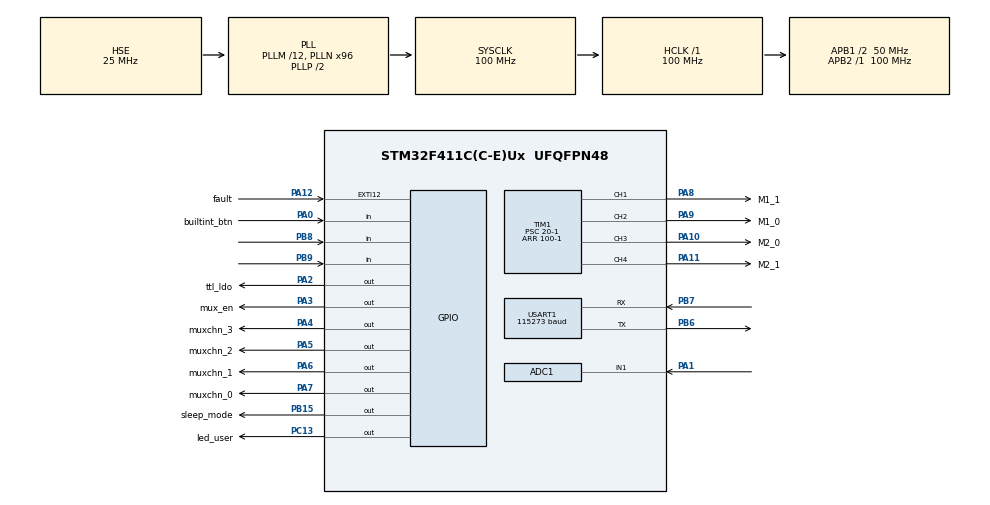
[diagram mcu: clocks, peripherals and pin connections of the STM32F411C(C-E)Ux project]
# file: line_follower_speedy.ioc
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ADC1.Channel-0\#ChannelRegularConversion=ADC_CHANNEL_1
ADC1.NbrOfConversionFlag=1
ADC1.Rank-0\#ChannelRegularConversion=1
ADC1.SamplingTime-0\#ChannelRegularConversion=ADC_SAMPLETIME_3CYCLES
ADC1.master=1
Dma.Request0=USART1_RX
Dma.Request1=USART1_TX
Dma.USART1_RX.0.Direction=DMA_PERIPH_TO_MEMORY
Dma.USART1_RX.0.FIFOMode=DMA_FIFOMODE_DISABLE
Dma.USART1_RX.0.Instance=DMA2_Stream5
Dma.USART1_RX.0.MemDataAlignment=DMA_MDATAALIGN_BYTE
Dma.USART1_RX.0.MemInc=DMA_MINC_ENABLE
Dma.USART1_RX.0.Mode=DMA_NORMAL
Dma.USART1_RX.0.PeriphDataAlignment=DMA_PDATAALIGN_BYTE
Dma.USART1_RX.0.PeriphInc=DMA_PINC_DISABLE
Dma.USART1_RX.0.Priority=DMA_PRIORITY_HIGH
Dma.USART1_TX.1.Direction=DMA_MEMORY_TO_PERIPH
Dma.USART1_TX.1.FIFOMode=DMA_FIFOMODE_DISABLE
Dma.USART1_TX.1.Instance=DMA2_Stream7
Dma.USART1_TX.1.MemDataAlignment=DMA_MDATAALIGN_BYTE
Dma.USART1_TX.1.MemInc=DMA_MINC_ENABLE
Dma.USART1_TX.1.Mode=DMA_NORMAL
Dma.USART1_TX.1.PeriphDataAlignment=DMA_PDATAALIGN_BYTE
Dma.USART1_TX.1.PeriphInc=DMA_PINC_DISABLE
Dma.USART1_TX.1.Priority=DMA_PRIORITY_HIGH
Mcu.Family=STM32F4
Mcu.Name=STM32F411C(C-E)Ux
Mcu.Package=UFQFPN48
NVIC.DMA2_Stream5_IRQn=true\:0\:0\:false\:false\:true\:false\:true\:true
NVIC.DMA2_Stream7_IRQn=true\:0\:0\:false\:false\:true\:false\:true\:true
NVIC.EXTI15_10_IRQn=true\:0\:0\:false\:false\:true\:true\:true\:true
NVIC.PriorityGroup=NVIC_PRIORITYGROUP_4
NVIC.TIM3_IRQn=true\:0\:0\:false\:false\:true\:true\:true\:true
NVIC.USART1_IRQn=true\:0\:0\:false\:false\:true\:true\:true\:true
PA0-WKUP.GPIO_Label=builtint_btn
PA0-WKUP.Signal=GPIO_Input
PA1.Signal=ADCx_IN1
PA10.GPIO_Label=M2_0
PA10.Signal=S_TIM1_CH3
PA11.GPIO_Label=M2_1
PA11.Signal=S_TIM1_CH4
PA12.GPIO_Label=fault
PA12.Signal=GPXTI12
PA13.Mode=Serial_Wire
PA13.Signal=SYS_JTMS-SWDIO
PA14.Mode=Serial_Wire
PA14.Signal=SYS_JTCK-SWCLK
PA2.GPIO_Label=ttl_ldo
PA2.GPIO_Speed=GPIO_SPEED_FREQ_VERY_HIGH
PA2.Signal=GPIO_Output
PA3.GPIO_Label=mux_en
PA3.GPIO_Speed=GPIO_SPEED_FREQ_VERY_HIGH
PA3.Signal=GPIO_Output
PA4.GPIO_Label=muxchn_3
PA4.GPIO_PuPd=GPIO_PULLDOWN
PA4.GPIO_Speed=GPIO_SPEED_FREQ_VERY_HIGH
PA4.Signal=GPIO_Output
PA5.GPIO_Label=muxchn_2
PA5.GPIO_PuPd=GPIO_PULLDOWN
PA5.GPIO_Speed=GPIO_SPEED_FREQ_VERY_HIGH
PA5.Signal=GPIO_Output
PA6.GPIO_Label=muxchn_1
PA6.GPIO_PuPd=GPIO_PULLDOWN
PA6.GPIO_Speed=GPIO_SPEED_FREQ_VERY_HIGH
PA6.Signal=GPIO_Output
PA7.GPIO_Label=muxchn_0
PA7.GPIO_PuPd=GPIO_PULLDOWN
PA7.GPIO_Speed=GPIO_SPEED_FREQ_VERY_HIGH
PA7.Signal=GPIO_Output
PA8.GPIO_Label=M1_1
PA8.Signal=S_TIM1_CH1
PA9.GPIO_Label=M1_0
PA9.Signal=S_TIM1_CH2
PB15.GPIO_Label=sleep_mode
PB15.Signal=GPIO_Output
PB6.Mode=Asynchronous
PB6.Signal=USART1_TX
PB7.Mode=Asynchronous
PB7.Signal=USART1_RX
PB8.Signal=GPIO_Input
PB9.Signal=GPIO_Input
PC13-ANTI_TAMP.GPIO_Label=led_user
PC13-ANTI_TAMP.Signal=GPIO_Output
PC14-OSC32_IN.Mode=LSE-External-Oscillator
PC14-OSC32_IN.Signal=RCC_OSC32_IN
PC15-OSC32_OUT.Mode=LSE-External-Oscillator
PC15-OSC32_OUT.Signal=RCC_OSC32_OUT
PH0\ -\ OSC_IN.Mode=HSE-External-Oscillator
PH0\ -\ OSC_IN.Signal=RCC_OSC_IN
PH1\ -\ OSC_OUT.Mode=HSE-External-Oscillator
PH1\ -\ OSC_OUT.Signal=RCC_OSC_OUT
ProjectManager.HeapSize=0x200
ProjectManager.StackSize=0x400
ProjectManager.TargetToolchain=STM32CubeIDE
RCC.48MHZClocksFreq_Value=50000000
RCC.AHBFreq_Value=100000000
RCC.APB1CLKDivider=RCC_HCLK_DIV2
RCC.APB1Freq_Value=50000000
RCC.APB1TimFreq_Value=100000000
RCC.APB2Freq_Value=100000000
RCC.APB2TimFreq_Value=100000000
RCC.CortexFreq_Value=100000000
RCC.HCLKFreq_Value=100000000
RCC.HSE_VALUE=25000000
RCC.HSI_VALUE=16000000
RCC.PLLM=12
RCC.PLLN=96
RCC.PLLSourceVirtual=RCC_PLLSOURCE_HSE
RCC.SYSCLKFreq_VALUE=100000000
RCC.SYSCLKSource=RCC_SYSCLKSOURCE_PLLCLK
RCC.VCOOutputFreq_Value=200000000
SH.ADCx_IN1.0=ADC1_IN1,IN1
SH.S_TIM1_CH1.0=TIM1_CH1,PWM Generation1 CH1
SH.S_TIM1_CH2.0=TIM1_CH2,PWM Generation2 CH2
SH.S_TIM1_CH3.0=TIM1_CH3,PWM Generation3 CH3
SH.S_TIM1_CH4.0=TIM1_CH4,PWM Generation4 CH4
TIM1.AutoReloadPreload=TIM_AUTORELOAD_PRELOAD_ENABLE
TIM1.Channel-PWM\ Generation1\ CH1=TIM_CHANNEL_1
TIM1.Channel-PWM\ Generation2\ CH2=TIM_CHANNEL_2
TIM1.Channel-PWM\ Generation3\ CH3=TIM_CHANNEL_3
TIM1.Channel-PWM\ Generation4\ CH4=TIM_CHANNEL_4
TIM1.Period=100-1
TIM1.Prescaler=20-1
TIM3.AutoReloadPreload=TIM_AUTORELOAD_PRELOAD_ENABLE
TIM3.Period=1000-1
TIM3.Prescaler=100-1
USART1.BaudRate=115273
USART1.VirtualMode=VM_ASYNC
VP_TIM1_VS_ClockSourceINT.Mode=Internal
VP_TIM3_VS_ClockSourceINT.Mode=Internal
board=custom

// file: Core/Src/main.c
/* USER CODE BEGIN Header */
/**
  ******************************************************************************
  * @author			: Adrián Silva Palafox
  * @file           : main.c
  * @brief          : Main program body
  ******************************************************************************
  * @attention
  *
  * Copyright (c) 2025 STMicroelectronics.
  * All rights reserved.
  *
  * This software is licensed under terms that can be found in the LICENSE file
  * in the root directory of this software component.
  * If no LICENSE file comes with this software, it is provided AS-IS.
  *
  ******************************************************************************
  */
/* USER CODE END Header */
#include "main.h"

/* USER CODE BEGIN Includes */
#include <math.h>
#include <stdlib.h>
// Line follower's hardware and software libraries
#include "fuzzy.h"
#include "pid.h"
#include "esp01.h"
#include "DRV8833.h"
#include "array_ir_sensor.h"
/* USER CODE END Includes */

ADC_HandleTypeDef hadc1;

TIM_HandleTypeDef htim1;
TIM_HandleTypeDef htim3;

UART_HandleTypeDef huart1;
DMA_HandleTypeDef hdma_usart1_rx;
DMA_HandleTypeDef hdma_usart1_tx;

/* USER CODE BEGIN PV */
/* UART COMMUNICATION TO ESP01*/
char TXbuffer[80];      			// TX uart buffer
volatile uint8_t RXuart_size = 1;	// Size of data to handle DMA
char RXbuffer[20];      			// RX uart buffer
char* pend_buff;     				// character end pointer
char pos_buff; 			 			// Buffer index
volatile bool TXuart_flag = true; 	// DMA uart_tx data sent completed flag
volatile bool RXuart_flag = false; 	// DMA uart_rx data sent completed flag
/* PID CONTROLLER */
PIDController pid;
const float setpoint = 0.0;
/* Fuzzy controller */
/* Line follower parameters */
volatile bool pid_flag = false;
float IRsense = 0.0;
uint8_t motorPWM = 0;
uint16_t IRsarray[IR_SENSORS];
float IRsarray_norm[IR_SENSORS];
const float weights[] =
{
		-0.95,  //IR0
		-0.8,   //IR1
		-0.56,  //IR2
		-0.21,  //IR3
		0.21,   //IR4
		0.56,   //IR5
		0.8,    //IR6
		0.95,   //IR7
};

/* USER CODE END PV */

void SystemClock_Config(void);
static void MX_GPIO_Init(void);
static void MX_DMA_Init(void);
static void MX_TIM1_Init(void);
static void MX_ADC1_Init(void);
static void MX_USART1_UART_Init(void);
static void MX_TIM3_Init(void);

int main(void)
{

  /* MCU Configuration--------------------------------------------------------*/

  /* Reset of all peripherals, Initializes the Flash interface and the Systick. */
  HAL_Init();

  /* Configure the system clock */
  SystemClock_Config();

  /* Initialize all configured peripherals */
  MX_GPIO_Init();
  MX_DMA_Init();
  MX_TIM1_Init();
  MX_ADC1_Init();
  MX_USART1_UART_Init();
  MX_TIM3_Init();
  /* USER CODE BEGIN 2 */

  // Initiate motors
  /* PWM channels for motor driver */
  HAL_TIM_PWM_Start(&htim1,TIM_CHANNEL_1);
  HAL_TIM_PWM_Start(&htim1,TIM_CHANNEL_2);
  HAL_TIM_PWM_Start(&htim1,TIM_CHANNEL_3);
  HAL_TIM_PWM_Start(&htim1,TIM_CHANNEL_4);
  stop_motors();

  //Initiate PID controller
  pid.limMin = -100;    	//Output's minimum limit
  pid.limMax = 100;     	//Output's maximum limit
  pid.limMinInt = -10.0;    //Integrator's minimum limit
  pid.limMaxInt = 10.0;  	//Integrator's maximum limit
  pid.T = 0.001;		    //Sample time in seconds
  pid.tau = pid.T*0.5;      //Derivative low-pass filter time constant
  PIDController_Init(&pid);

  // Initialize communication with ESP01
  ESP01_StatusTypeDef status = esp01_init();
  if(status == ESP01_OK) esp01_udp_start();
  if(status == ESP01_OK) esp01_start_uart_transparent();
  if(status == ESP01_OK) HAL_UART_Receive_DMA(&huart1, (uint8_t*)RXbuffer, RXuart_size);
  /*
  //Debug
  if(status == ESP01_OK){
	HAL_Delay(10000);
	// 1,2,3,4,5,6,7,8,9 ASCII coded
	for (uint8_t var = 48; var < 58; ++var) {
		HAL_UART_Transmit(&huart1, &var, 1, 1);
	}
	esp01_end_uart_transparent();
  }
  */
  //CALIBRATE
  enable_mux(true);
  enable_ldo(true);
  HAL_TIM_Base_Start_IT(&htim3);

  /* USER CODE END 2 */

  /* Infinite loop */
  while (1)
  {

    /* USER CODE BEGIN 3 */
    // FUZZY PID CONTROLLER
	if (pid_flag) {
		pid_flag = false;

		//Sense IRs
		sense_IR (IRsarray);

		//NORMALIZATION AND WEIGHTING  ->>  CALCULATE ROBOT POSITION AND ORENTATION
		IRsense = 0;
		for (int var = 0; var < IR_SENSORS; ++var) {
			IRsarray_norm[var] = normal_min_max((float)IRsarray[var], 0, 4095) * weights[var];
			IRsense += IRsarray_norm[var];
		}

		//IR SENSORS PATTERN RECOGNITION
		//Fuzzy
		//PID
		PIDController_Update(&pid, setpoint, IRsense);

		//ACT ON MOTORS
		motorPWM = (uint8_t)fabsf(pid.out);

		if (IRsense < 0) { // Turn <--
			motors(dir_a,motorPWM);
		} else if (IRsense > 0) { // Turn -->
			motors(dir_b,motorPWM);
		} else { // Go forward
			motors(dir_c,motorPWM);
		}
	 }

	//Parsing recollected date to send via UDP
	if (status == ESP01_OK && TXuart_flag == true) {
		TXuart_flag = false;
		// Buffer index let us start from "S" on
		pos_buff = snprintf(TXbuffer, sizeof(TXbuffer), "M%dE%.2fS", motorPWM, IRsense);
		// Append the IRsarray_norm[] values
		for (int i = 0; i < IR_SENSORS; i++) {
			pos_buff += snprintf(TXbuffer + pos_buff, sizeof(TXbuffer) - pos_buff, ",%.2f", IRsarray_norm[i]);
		}
		// FOR DEBUGING -> strcat(TXbuffer,RXbuffer);
		HAL_UART_Transmit_DMA(&huart1,(uint8_t*)TXbuffer,strlen(TXbuffer));
	}

	//Parsing RXbuffer and update PID gains
	if (RXuart_flag == true && RXuart_size == 1) {
		RXuart_flag = false;
		switch (RXbuffer[0]) {
			case 'P':
				pid.Kp = strtof(RXbuffer + 1,NULL);
				break;
			case 'I':
				pid.Ki = strtof(RXbuffer + 1,NULL);
				break;
			case 'D':
				pid.Kd = strtof(RXbuffer + 1,NULL);
				break;
		}
	}

  }
  /* USER CODE END 3 */
}

void SystemClock_Config(void)
{
  RCC_OscInitTypeDef RCC_OscInitStruct = {0};
  RCC_ClkInitTypeDef RCC_ClkInitStruct = {0};

  /** Configure the main internal regulator output voltage
  */
  __HAL_RCC_PWR_CLK_ENABLE();
  __HAL_PWR_VOLTAGESCALING_CONFIG(PWR_REGULATOR_VOLTAGE_SCALE1);

  /** Initializes the RCC Oscillators according to the specified parameters
  * in the RCC_OscInitTypeDef structure.
  */
  RCC_OscInitStruct.OscillatorType = RCC_OSCILLATORTYPE_HSE;
  RCC_OscInitStruct.HSEState = RCC_HSE_ON;
  RCC_OscInitStruct.PLL.PLLState = RCC_PLL_ON;
  RCC_OscInitStruct.PLL.PLLSource = RCC_PLLSOURCE_HSE;
  RCC_OscInitStruct.PLL.PLLM = 12;
  RCC_OscInitStruct.PLL.PLLN = 96;
  RCC_OscInitStruct.PLL.PLLP = RCC_PLLP_DIV2;
  RCC_OscInitStruct.PLL.PLLQ = 4;
  if (HAL_RCC_OscConfig(&RCC_OscInitStruct) != HAL_OK)
  {
    Error_Handler();
  }

  /** Initializes the CPU, AHB and APB buses clocks
  */
  RCC_ClkInitStruct.ClockType = RCC_CLOCKTYPE_HCLK|RCC_CLOCKTYPE_SYSCLK
                              |RCC_CLOCKTYPE_PCLK1|RCC_CLOCKTYPE_PCLK2;
  RCC_ClkInitStruct.SYSCLKSource = RCC_SYSCLKSOURCE_PLLCLK;
  RCC_ClkInitStruct.AHBCLKDivider = RCC_SYSCLK_DIV1;
  RCC_ClkInitStruct.APB1CLKDivider = RCC_HCLK_DIV2;
  RCC_ClkInitStruct.APB2CLKDivider = RCC_HCLK_DIV1;

  if (HAL_RCC_ClockConfig(&RCC_ClkInitStruct, FLASH_LATENCY_3) != HAL_OK)
  {
    Error_Handler();
  }
}

static void MX_ADC1_Init(void)
{

  ADC_ChannelConfTypeDef sConfig = {0};

  /** Configure the global features of the ADC (Clock, Resolution, Data Alignment and number of conversion)
  */
  hadc1.Instance = ADC1;
  hadc1.Init.ClockPrescaler = ADC_CLOCK_SYNC_PCLK_DIV4;
  hadc1.Init.Resolution = ADC_RESOLUTION_12B;
  hadc1.Init.ScanConvMode = DISABLE;
  hadc1.Init.ContinuousConvMode = DISABLE;
  hadc1.Init.DiscontinuousConvMode = DISABLE;
  hadc1.Init.ExternalTrigConvEdge = ADC_EXTERNALTRIGCONVEDGE_NONE;
  hadc1.Init.ExternalTrigConv = ADC_SOFTWARE_START;
  hadc1.Init.DataAlign = ADC_DATAALIGN_RIGHT;
  hadc1.Init.NbrOfConversion = 1;
  hadc1.Init.DMAContinuousRequests = DISABLE;
  hadc1.Init.EOCSelection = ADC_EOC_SINGLE_CONV;
  if (HAL_ADC_Init(&hadc1) != HAL_OK)
  {
    Error_Handler();
  }

  /** Configure for the selected ADC regular channel its corresponding rank in the sequencer and its sample time.
  */
  sConfig.Channel = ADC_CHANNEL_1;
  sConfig.Rank = 1;
  sConfig.SamplingTime = ADC_SAMPLETIME_3CYCLES;
  if (HAL_ADC_ConfigChannel(&hadc1, &sConfig) != HAL_OK)
  {
    Error_Handler();
  }

}

static void MX_TIM1_Init(void)
{

  TIM_ClockConfigTypeDef sClockSourceConfig = {0};
  TIM_MasterConfigTypeDef sMasterConfig = {0};
  TIM_OC_InitTypeDef sConfigOC = {0};
  TIM_BreakDeadTimeConfigTypeDef sBreakDeadTimeConfig = {0};

  htim1.Instance = TIM1;
  htim1.Init.Prescaler = 20-1;
  htim1.Init.CounterMode = TIM_COUNTERMODE_UP;
  htim1.Init.Period = 100-1;
  htim1.Init.ClockDivision = TIM_CLOCKDIVISION_DIV1;
  htim1.Init.RepetitionCounter = 0;
  htim1.Init.AutoReloadPreload = TIM_AUTORELOAD_PRELOAD_ENABLE;
  if (HAL_TIM_Base_Init(&htim1) != HAL_OK)
  {
    Error_Handler();
  }
  sClockSourceConfig.ClockSource = TIM_CLOCKSOURCE_INTERNAL;
  if (HAL_TIM_ConfigClockSource(&htim1, &sClockSourceConfig) != HAL_OK)
  {
    Error_Handler();
  }
  if (HAL_TIM_PWM_Init(&htim1) != HAL_OK)
  {
    Error_Handler();
  }
  sMasterConfig.MasterOutputTrigger = TIM_TRGO_RESET;
  sMasterConfig.MasterSlaveMode = TIM_MASTERSLAVEMODE_DISABLE;
  if (HAL_TIMEx_MasterConfigSynchronization(&htim1, &sMasterConfig) != HAL_OK)
  {
    Error_Handler();
  }
  sConfigOC.OCMode = TIM_OCMODE_PWM1;
  sConfigOC.Pulse = 0;
  sConfigOC.OCPolarity = TIM_OCPOLARITY_HIGH;
  sConfigOC.OCNPolarity = TIM_OCNPOLARITY_HIGH;
  sConfigOC.OCFastMode = TIM_OCFAST_DISABLE;
  sConfigOC.OCIdleState = TIM_OCIDLESTATE_RESET;
  sConfigOC.OCNIdleState = TIM_OCNIDLESTATE_RESET;
  if (HAL_TIM_PWM_ConfigChannel(&htim1, &sConfigOC, TIM_CHANNEL_1) != HAL_OK)
  {
    Error_Handler();
  }
  if (HAL_TIM_PWM_ConfigChannel(&htim1, &sConfigOC, TIM_CHANNEL_2) != HAL_OK)
  {
    Error_Handler();
  }
  if (HAL_TIM_PWM_ConfigChannel(&htim1, &sConfigOC, TIM_CHANNEL_3) != HAL_OK)
  {
    Error_Handler();
  }
  if (HAL_TIM_PWM_ConfigChannel(&htim1, &sConfigOC, TIM_CHANNEL_4) != HAL_OK)
  {
    Error_Handler();
  }
  sBreakDeadTimeConfig.OffStateRunMode = TIM_OSSR_DISABLE;
  sBreakDeadTimeConfig.OffStateIDLEMode = TIM_OSSI_DISABLE;
  sBreakDeadTimeConfig.LockLevel = TIM_LOCKLEVEL_OFF;
  sBreakDeadTimeConfig.DeadTime = 0;
  sBreakDeadTimeConfig.BreakState = TIM_BREAK_DISABLE;
  sBreakDeadTimeConfig.BreakPolarity = TIM_BREAKPOLARITY_HIGH;
  sBreakDeadTimeConfig.AutomaticOutput = TIM_AUTOMATICOUTPUT_DISABLE;
  if (HAL_TIMEx_ConfigBreakDeadTime(&htim1, &sBreakDeadTimeConfig) != HAL_OK)
  {
    Error_Handler();
  }
  HAL_TIM_MspPostInit(&htim1);

}

static void MX_TIM3_Init(void)
{

  TIM_ClockConfigTypeDef sClockSourceConfig = {0};
  TIM_MasterConfigTypeDef sMasterConfig = {0};

  htim3.Instance = TIM3;
  htim3.Init.Prescaler = 100-1;
  htim3.Init.CounterMode = TIM_COUNTERMODE_UP;
  htim3.Init.Period = 1000-1;
  htim3.Init.ClockDivision = TIM_CLOCKDIVISION_DIV1;
  htim3.Init.AutoReloadPreload = TIM_AUTORELOAD_PRELOAD_ENABLE;
  if (HAL_TIM_Base_Init(&htim3) != HAL_OK)
  {
    Error_Handler();
  }
  sClockSourceConfig.ClockSource = TIM_CLOCKSOURCE_INTERNAL;
  if (HAL_TIM_ConfigClockSource(&htim3, &sClockSourceConfig) != HAL_OK)
  {
    Error_Handler();
  }
  sMasterConfig.MasterOutputTrigger = TIM_TRGO_RESET;
  sMasterConfig.MasterSlaveMode = TIM_MASTERSLAVEMODE_DISABLE;
  if (HAL_TIMEx_MasterConfigSynchronization(&htim3, &sMasterConfig) != HAL_OK)
  {
    Error_Handler();
  }

}

static void MX_USART1_UART_Init(void)
{

  huart1.Instance = USART1;
  huart1.Init.BaudRate = 115273;
  huart1.Init.WordLength = UART_WORDLENGTH_8B;
  huart1.Init.StopBits = UART_STOPBITS_1;
  huart1.Init.Parity = UART_PARITY_NONE;
  huart1.Init.Mode = UART_MODE_TX_RX;
  huart1.Init.HwFlowCtl = UART_HWCONTROL_NONE;
  huart1.Init.OverSampling = UART_OVERSAMPLING_16;
  if (HAL_UART_Init(&huart1) != HAL_OK)
  {
    Error_Handler();
  }

}

static void MX_DMA_Init(void)
{

  /* DMA controller clock enable */
  __HAL_RCC_DMA2_CLK_ENABLE();

  /* DMA interrupt init */
  /* DMA2_Stream5_IRQn interrupt configuration */
  HAL_NVIC_SetPriority(DMA2_Stream5_IRQn, 0, 0);
  HAL_NVIC_EnableIRQ(DMA2_Stream5_IRQn);
  /* DMA2_Stream7_IRQn interrupt configuration */
  HAL_NVIC_SetPriority(DMA2_Stream7_IRQn, 0, 0);
  HAL_NVIC_EnableIRQ(DMA2_Stream7_IRQn);

}

static void MX_GPIO_Init(void)
{
  GPIO_InitTypeDef GPIO_InitStruct = {0};

  /* GPIO Ports Clock Enable */
  __HAL_RCC_GPIOC_CLK_ENABLE();
  __HAL_RCC_GPIOH_CLK_ENABLE();
  __HAL_RCC_GPIOA_CLK_ENABLE();
  __HAL_RCC_GPIOB_CLK_ENABLE();

  /*Configure GPIO pin Output Level */
  HAL_GPIO_WritePin(led_user_GPIO_Port, led_user_Pin, GPIO_PIN_RESET);

  /*Configure GPIO pin Output Level */
  HAL_GPIO_WritePin(GPIOA, ttl_ldo_Pin|mux_en_Pin|muxchn_3_Pin|muxchn_2_Pin
                          |muxchn_1_Pin|muxchn_0_Pin, GPIO_PIN_RESET);

  /*Configure GPIO pin Output Level */
  HAL_GPIO_WritePin(sleep_mode_GPIO_Port, sleep_mode_Pin, GPIO_PIN_RESET);

  /*Configure GPIO pin : led_user_Pin */
  GPIO_InitStruct.Pin = led_user_Pin;
  GPIO_InitStruct.Mode = GPIO_MODE_OUTPUT_PP;
  GPIO_InitStruct.Pull = GPIO_NOPULL;
  GPIO_InitStruct.Speed = GPIO_SPEED_FREQ_LOW;
  HAL_GPIO_Init(led_user_GPIO_Port, &GPIO_InitStruct);

  /*Configure GPIO pin : builtint_btn_Pin */
  GPIO_InitStruct.Pin = builtint_btn_Pin;
  GPIO_InitStruct.Mode = GPIO_MODE_INPUT;
  GPIO_InitStruct.Pull = GPIO_NOPULL;
  HAL_GPIO_Init(builtint_btn_GPIO_Port, &GPIO_InitStruct);

  /*Configure GPIO pins : ttl_ldo_Pin mux_en_Pin */
  GPIO_InitStruct.Pin = ttl_ldo_Pin|mux_en_Pin;
  GPIO_InitStruct.Mode = GPIO_MODE_OUTPUT_PP;
  GPIO_InitStruct.Pull = GPIO_NOPULL;
  GPIO_InitStruct.Speed = GPIO_SPEED_FREQ_VERY_HIGH;
  HAL_GPIO_Init(GPIOA, &GPIO_InitStruct);

  /*Configure GPIO pins : muxchn_3_Pin muxchn_2_Pin muxchn_1_Pin muxchn_0_Pin */
  GPIO_InitStruct.Pin = muxchn_3_Pin|muxchn_2_Pin|muxchn_1_Pin|muxchn_0_Pin;
  GPIO_InitStruct.Mode = GPIO_MODE_OUTPUT_PP;
  GPIO_InitStruct.Pull = GPIO_PULLDOWN;
  GPIO_InitStruct.Speed = GPIO_SPEED_FREQ_VERY_HIGH;
  HAL_GPIO_Init(GPIOA, &GPIO_InitStruct);

  /*Configure GPIO pin : sleep_mode_Pin */
  GPIO_InitStruct.Pin = sleep_mode_Pin;
  GPIO_InitStruct.Mode = GPIO_MODE_OUTPUT_PP;
  GPIO_InitStruct.Pull = GPIO_NOPULL;
  GPIO_InitStruct.Speed = GPIO_SPEED_FREQ_LOW;
  HAL_GPIO_Init(sleep_mode_GPIO_Port, &GPIO_InitStruct);

  /*Configure GPIO pin : fault_Pin */
  GPIO_InitStruct.Pin = fault_Pin;
  GPIO_InitStruct.Mode = GPIO_MODE_IT_RISING;
  GPIO_InitStruct.Pull = GPIO_NOPULL;
  HAL_GPIO_Init(fault_GPIO_Port, &GPIO_InitStruct);

  /*Configure GPIO pins : PB8 PB9 */
  GPIO_InitStruct.Pin = GPIO_PIN_8|GPIO_PIN_9;
  GPIO_InitStruct.Mode = GPIO_MODE_INPUT;
  GPIO_InitStruct.Pull = GPIO_NOPULL;
  HAL_GPIO_Init(GPIOB, &GPIO_InitStruct);

  /* EXTI interrupt init*/
  HAL_NVIC_SetPriority(EXTI15_10_IRQn, 0, 0);
  HAL_NVIC_EnableIRQ(EXTI15_10_IRQn);

}

/* USER CODE BEGIN 4 */

// DMA CALLBACKS
// It is needed to have the NVIC uart activated, otherwise it wont receive the interrupt
void HAL_UART_TxCpltCallback(UART_HandleTypeDef *huart){
	TXuart_flag = true; //Enables STATE_MACHINE_UDP_SEND
}

void HAL_UART_RxCpltCallback(UART_HandleTypeDef *huart){

	if (RXuart_flag) {
		// We mark the end of valid information to parse
		RXbuffer[RXuart_size] = '\0';
		// We receive one byte first to determine the amount of data to be handled
		RXuart_size = 1; // this variable is also used as a flag
		HAL_UART_Receive_DMA(&huart1, (uint8_t*)RXbuffer, RXuart_size);
	} else {
		RXuart_size = (uint8_t)(RXbuffer[0]);//New data length DMA will wait for
		HAL_UART_Receive_DMA(&huart1, (uint8_t*)RXbuffer, RXuart_size);
		RXuart_flag = true;
	}
}

// ISR TIMER
void HAL_TIM_PeriodElapsedCallback(TIM_HandleTypeDef* htim){
	pid_flag = true;
}

/* USER CODE END 4 */

void Error_Handler(void)
{
  __disable_irq();
  while (1)
  {
  }
}
